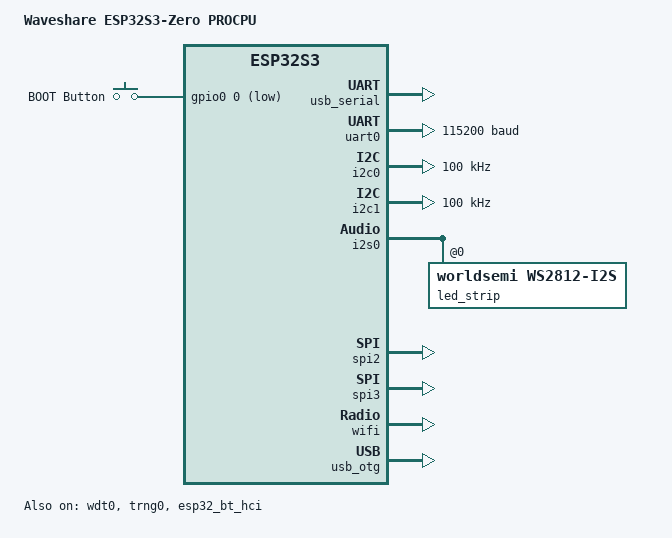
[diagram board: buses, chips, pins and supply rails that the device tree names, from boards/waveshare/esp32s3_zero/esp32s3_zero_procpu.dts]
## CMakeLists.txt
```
cmake_minimum_required(VERSION 3.20.0)

list(APPEND BOARD_ROOT ${CMAKE_CURRENT_SOURCE_DIR})

# Default board
set(BOARD esp32s3_devkitc/esp32s3/procpu)

find_package(Zephyr REQUIRED HINTS $ENV{ZEPHYR_BASE})

project(hello_world)

target_sources(app PRIVATE src/main.c)
```

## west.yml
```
manifest:
  projects:
    - name: zephyr
      url: https://github.com/zephyrproject-rtos/zephyr
      revision: v4.3.0
      import:
        # Limit the Zephyr modules to the required set
        name-allowlist:
          - hal_espressif
          - mbedtls
          - mcuboot
```

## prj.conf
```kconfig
# Enable logging
CONFIG_LOG=y
# Set default log level to INFO
CONFIG_LOG_DEFAULT_LEVEL=3

# Enable shell
CONFIG_SHELL=y
CONFIG_SHELL_BACKEND_SERIAL=y

# Enable RGB LED strip
CONFIG_LED_STRIP=y
CONFIG_LED_STRIP_LOG_LEVEL_DBG=y
```

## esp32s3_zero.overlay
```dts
/* 2MB PSRAM */
&psram0 {
	size = <DT_SIZE_M(2)>;
};

/* 4MB FLASH */
&flash0 {
	/delete-node/ partitions;
};

&flash0 {
	reg = <0x0 DT_SIZE_M(4)>;
};

#include <espressif/partitions_0x0_amp_4M.dtsi>

/ {
	chosen {
		zephyr,console = &usb_serial;
		zephyr,shell-uart = &usb_serial;
	};
};

&usb_serial {
	status = "okay";
};

#include <zephyr/dt-bindings/led/led.h>

/ {
	aliases {
		led-strip = &led_strip;
	};
};

&i2s0_default {
	group1 {
		pinmux = <I2S0_O_SD_GPIO21>;
	};
};

i2s_led: &i2s0 {
	status = "okay";

	dmas = <&dma 3>;
	dma-names = "tx";

	led_strip: ws2812@0 {
		compatible = "worldsemi,ws2812-i2s";

		reg = <0>;
		chain-length = <1>;
		color-mapping = <LED_COLOR_ID_GREEN
				 LED_COLOR_ID_RED
				 LED_COLOR_ID_BLUE>;
		reset-delay = <500>;
	};
};

&dma {
	status = "okay";
};
```

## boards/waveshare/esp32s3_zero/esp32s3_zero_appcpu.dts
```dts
/*
 * Copyright (c) 2024 Espressif Systems (Shanghai) Co., Ltd.
 *
 * SPDX-License-Identifier: Apache-2.0
 */
/dts-v1/;

#include <espressif/esp32s3/esp32s3_wroom_n8.dtsi>
#include <espressif/partitions_0x0_amp.dtsi>
#include "esp32s3_zero-pinctrl.dtsi"

/ {
	model = "Waveshare ESP32S3-Zero APPCPU";
	compatible = "espressif,esp32s3";

	chosen {
		zephyr,sram = &sram1;
		zephyr,ipc_shm = &shm0;
		zephyr,ipc = &ipm0;
		zephyr,flash = &flash0;
		zephyr,code-partition = &slot0_appcpu_partition;
	};
};

&trng0 {
	status = "okay";
};

&ipm0 {
	status = "okay";
};
```

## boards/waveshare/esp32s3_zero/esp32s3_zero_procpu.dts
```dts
/*
 * Copyright (c) 2024-2025 Espressif Systems (Shanghai) Co., Ltd.
 *
 * SPDX-License-Identifier: Apache-2.0
 */
/dts-v1/;

#include <espressif/esp32s3/esp32s3_wroom_n8.dtsi>
#include <zephyr/dt-bindings/input/input-event-codes.h>
#include <zephyr/dt-bindings/input/esp32-touch-sensor-input.h>
#include <zephyr/dt-bindings/led/led.h>
#include "esp32s3_zero-pinctrl.dtsi"

/* 2MB PSRAM */
&psram0 {
	size = <DT_SIZE_M(2)>;
};

/* 4MB FLASH */
&flash0 {
	reg = <0x0 DT_SIZE_M(4)>;
};

#include <espressif/partitions_0x0_amp_4M.dtsi>

/ {
	model = "Waveshare ESP32S3-Zero PROCPU";
	compatible = "espressif,esp32s3";

	aliases {
		i2c-0 = &i2c0;
		watchdog0 = &wdt0;
		uart-0 = &uart0;
		sw0 = &button0;
		led-strip = &led_strip;
	};

	chosen {
		zephyr,sram = &sram1;
		zephyr,console = &usb_serial;
		zephyr,shell-uart = &usb_serial;
		zephyr,flash = &flash0;
		zephyr,code-partition = &slot0_partition;
		zephyr,bt-hci = &esp32_bt_hci;
	};

	buttons {
		compatible = "gpio-keys";

		button0: button_0 {
			gpios = <&gpio0 0 (GPIO_PULL_UP | GPIO_ACTIVE_LOW)>;
			label = "BOOT Button";
			zephyr,code = <INPUT_KEY_0>;
		};
	};
};

&usb_serial {
	status = "okay";
};

&uart0 {
	status = "okay";
	current-speed = <115200>;
	pinctrl-0 = <&uart0_default>;
	pinctrl-names = "default";
};

&gpio0 {
	status = "okay";
};

&gpio1 {
	status = "okay";
};

&touch {
	debounce-interval-ms = <30>;
	href-microvolt = <2700000>;
	lref-microvolt = <500000>;
	href-atten-microvolt = <1000000>;
	filter-mode = <ESP32_TOUCH_FILTER_MODE_IIR_16>;
	filter-debounce-cnt = <1>;
	filter-noise-thr = <ESP32_TOUCH_FILTER_NOISE_THR_4_8TH>;
	filter-jitter-step = <4>;
	filter-smooth-level = <ESP32_TOUCH_FILTER_SMOOTH_MODE_IIR_2>;
};

&i2c0 {
	clock-frequency = <I2C_BITRATE_STANDARD>;
	pinctrl-0 = <&i2c0_default>;
	pinctrl-names = "default";
};

&i2c1 {
	clock-frequency = <I2C_BITRATE_STANDARD>;
	pinctrl-0 = <&i2c1_default>;
	pinctrl-names = "default";
};

&i2s0 {
	pinctrl-0 = <&i2s0_default>;
	pinctrl-names = "default";
};

&i2s1 {
	pinctrl-0 = <&i2s1_default>;
	pinctrl-names = "default";
};

&spi2 {
	#address-cells = <1>;
	#size-cells = <0>;
	status = "okay";
	pinctrl-0 = <&spim2_default>;
	pinctrl-names = "default";
};

&spi3 {
	#address-cells = <1>;
	#size-cells = <0>;
	status = "okay";
	pinctrl-0 = <&spim3_default>;
	pinctrl-names = "default";
};

&twai {
	pinctrl-0 = <&twai_default>;
	pinctrl-names = "default";
};

&timer0 {
	status = "disabled";
};

&timer1 {
	status = "disabled";
};

&timer2 {
	status = "disabled";
};

&timer3 {
	status = "disabled";
};

&wdt0 {
	status = "okay";
};

&trng0 {
	status = "okay";
};

&esp32_bt_hci {
	status = "okay";
};

&wifi {
	status = "okay";
};

zephyr_udc0: &usb_otg {
	status = "okay";
};

&i2s0_default {
	group1 {
		pinmux = <I2S0_O_SD_GPIO21>;
	};
};

i2s_led: &i2s0 {
	status = "okay";

	dmas = <&dma 3>;
	dma-names = "tx";

	led_strip: ws2812@0 {
		compatible = "worldsemi,ws2812-i2s";

		reg = <0>;
		chain-length = <1>;
		color-mapping = <LED_COLOR_ID_GREEN
				 LED_COLOR_ID_RED
				 LED_COLOR_ID_BLUE>;
		reset-delay = <500>;
	};
};

&dma {
	status = "okay";
};
```

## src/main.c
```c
#include <stdio.h>
#include <zephyr/kernel.h>
#include <zephyr/drivers/led_strip.h>
#include <zephyr/device.h>
#include <zephyr/logging/log.h>

LOG_MODULE_REGISTER(hello_world, LOG_LEVEL_INF);


static const struct device *const strip = DEVICE_DT_GET(DT_ALIAS(led_strip));


int main(void)
{
    LOG_INF("Hello World! %s", CONFIG_BOARD_TARGET);

    if (device_is_ready(strip)) {
        LOG_INF("Found LED strip device %s", strip->name);
    } else {
        LOG_ERR("LED strip device %s is not ready", strip->name);
        return 0;
    }
    struct led_rgb rgb = { .r = 255, .g = 255, .b = 255 };
    int rc = led_strip_update_rgb(strip, &rgb, 1);
    if (rc) {
        LOG_ERR("Couldn't update strip: %d", rc);
    }

    struct led_rgb led_colors[] = {
        { .r = 255, .g = 0, .b = 0 },
        { .r = 0, .g = 255, .b = 0 },
        { .r = 0, .g = 0, .b = 255 },
    };

    int color = 0;
    for (;;) {
        LOG_INF("Tick %d", k_uptime_get_32() / 1000);

        int rc = led_strip_update_rgb(strip, &led_colors[color], 1);
        if (rc) {
            LOG_ERR("Couldn't update strip: %d", rc);
        }
        color = (color + 1) % ARRAY_SIZE(led_colors);

        k_msleep(1000);
    }
    return 0;
}
```
